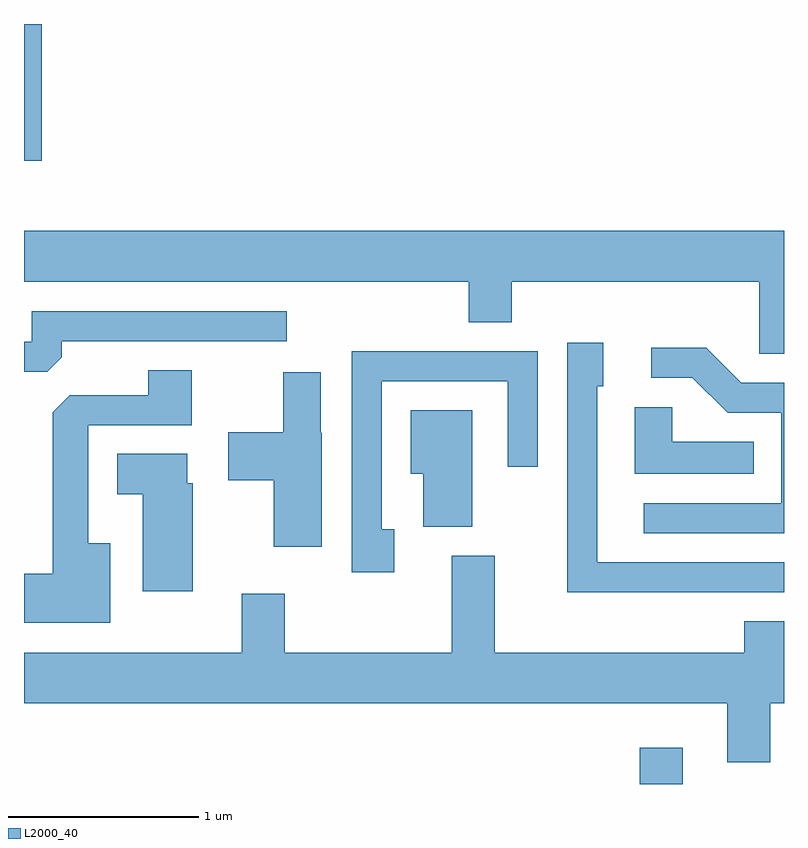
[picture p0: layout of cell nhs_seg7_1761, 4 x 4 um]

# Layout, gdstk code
import gdstk
lib = gdstk.Library(unit=1e-6, precision=1e-09)
def R(c, l, rs):  # rectangles x0, y0, x1, y1
    for r in rs: c.add(gdstk.rectangle(r[:2], r[2:], *l))
def P(c, l, *ps):  # polygons
    for p in ps: c.add(gdstk.Polygon(p, *l))
L2000_40 = (2000, 40)

nhs_seg7_1761 = lib.new_cell('nhs_seg7_1761')
R(nhs_seg7_1761, L2000_40, [(240.851,1798.252,241.079,1798.444), (237.611,1801.531,237.704,1802.252)])
P(nhs_seg7_1761, L2000_40, [(241.611,1801.164),(237.611,1801.164),(237.611,1800.896),(239.951,1800.896),(239.951,1800.681),(240.179,1800.681),(240.179,1800.896),(241.481,1800.896),(241.481,1800.516),(241.611,1800.516)],
  [(237.809,1800.497),(237.809,1800.581),(238.993,1800.581),(238.993,1800.739),(237.651,1800.739),(237.651,1800.579),(237.611,1800.579),(237.611,1800.421),(237.734,1800.421)],
  [(241.611,1799.419),(240.629,1799.419),(240.629,1800.346),(240.659,1800.346),(240.659,1800.574),(240.471,1800.574),(240.471,1799.261),(241.611,1799.261)],
  [(241.611,1800.364),(241.387,1800.364),(241.202,1800.549),(240.913,1800.549),(240.913,1800.391),(241.129,1800.391),(241.314,1800.206),(241.596,1800.206),(241.596,1799.729),(240.873,1799.729),(240.873,1799.571),(241.611,1799.571)],
  [(239.559,1799.594),(239.494,1799.594),(239.494,1800.371),(240.156,1800.371),(240.156,1799.923),(240.314,1799.923),(240.314,1800.529),(239.336,1800.529),(239.336,1799.366),(239.559,1799.366)],
  [(238.064,1799.519),(237.949,1799.519),(237.949,1800.141),(238.494,1800.141),(238.494,1800.429),(238.266,1800.429),(238.266,1800.299),(237.852,1800.299),(237.761,1800.209),(237.761,1799.359),(237.611,1799.359),(237.611,1799.101),(238.064,1799.101)],
  [(239.179,1800.1),(239.174,1800.1),(239.174,1800.419),(238.976,1800.419),(238.976,1800.104),(238.686,1800.104),(238.686,1799.851),(238.926,1799.851),(238.926,1799.501),(239.179,1799.501)],
  [(241.453,1800.054),(241.024,1800.054),(241.024,1800.234),(240.826,1800.234),(240.826,1799.886),(241.453,1799.886)],
  [(239.969,1800.219),(239.646,1800.219),(239.646,1799.886),(239.711,1799.886),(239.711,1799.606),(239.969,1799.606)],
  [(238.499,1799.834),(238.469,1799.834),(238.469,1799.989),(238.101,1799.989),(238.101,1799.776),(238.236,1799.776),(238.236,1799.266),(238.499,1799.266)],
  [(241.539,1798.676),(241.611,1798.676),(241.611,1799.109),(241.401,1799.109),(241.401,1798.944),(240.089,1798.944),(240.089,1799.454),(239.861,1799.454),(239.861,1798.944),(238.984,1798.944),(238.984,1799.254),(238.756,1799.254),(238.756,1798.944),(237.611,1798.944),(237.611,1798.676),(241.311,1798.676),(241.311,1798.366),(241.539,1798.366)])

lib.write_gds('nhs_seg7_1761.gds')
